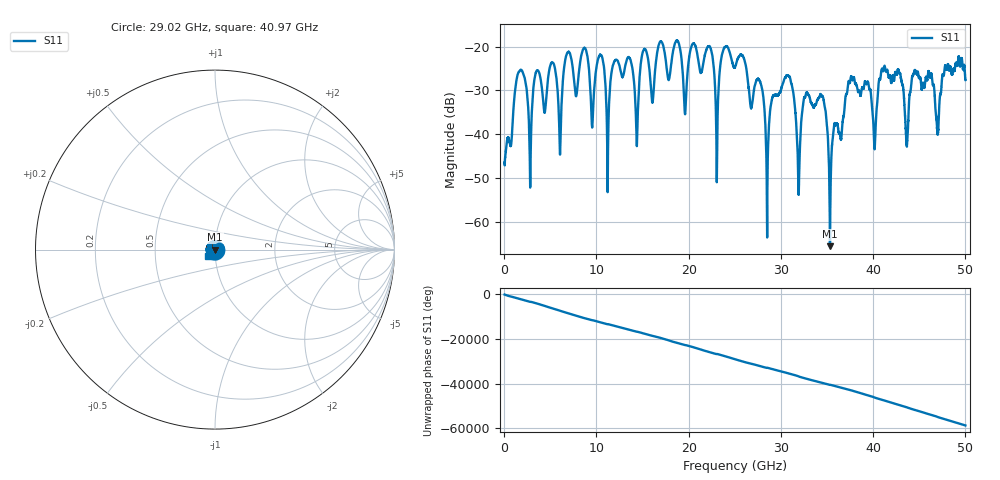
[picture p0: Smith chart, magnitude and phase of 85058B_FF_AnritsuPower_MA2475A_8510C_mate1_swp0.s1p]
!Created with skrf (http://scikit-rf.org).
# Hz S RI R 50.0
!freq ReS11 ImS11
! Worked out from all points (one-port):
!   10001 points, 45 MHz to 50 GHz, reference 50 ohm
!   lowest |S11| = -65.6 dB at 35.31 GHz (marker M1), VSWR 1.00, Z = 50 + j0.0526 ohm
!   |S11| at or under -10 dB: start of sweep to end of sweep
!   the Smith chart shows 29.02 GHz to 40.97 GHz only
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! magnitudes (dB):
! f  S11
! 45 MHz  -46.5
! 1.684 GHz  -25.5
! 2.798 GHz  -49.3
! 3.552 GHz  -25.4
! 6.289 GHz  -30.1
! 10.45 GHz  -21.9
! 11.24 GHz  -47.0
! 12.53 GHz  -24.7
! 14.37 GHz  -42.4
! 15.13 GHz  -20.7
! 18.78 GHz  -18.6
! 19.61 GHz  -35.4
! 22.3 GHz  -20.0
! 23.05 GHz  -51.0
! 23.78 GHz  -20.6
! 25.02 GHz  -24.7
! 27.76 GHz  -28.1
! 28.51 GHz  -58.1
! 31.27 GHz  -29.6
! 31.92 GHz  -53.1
! 34.48 GHz  -31.3
! 35.31 GHz  -65.6
! 37.51 GHz  -27.9
! 42.73 GHz  -25.2
! 43.76 GHz  -39.4
! 44.45 GHz  -25.8
! 46.95 GHz  -39.1
! 50 GHz  -27.7
